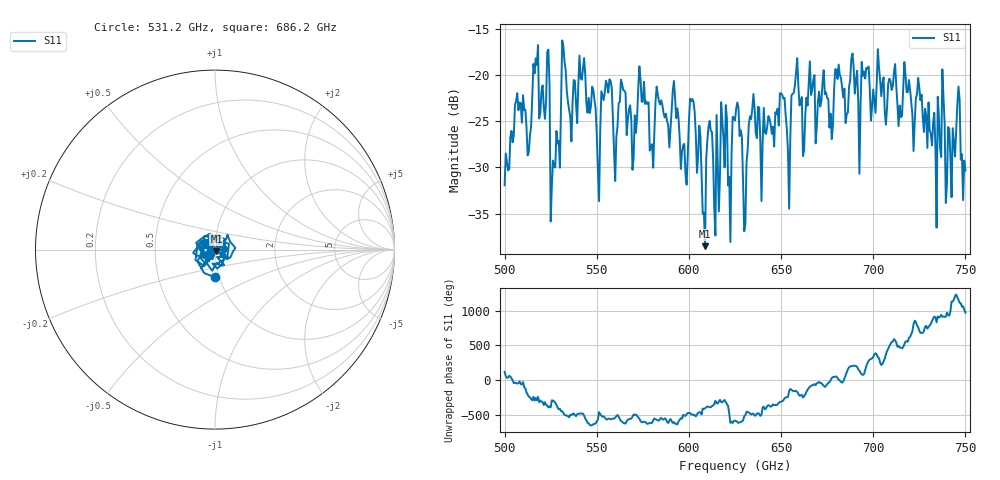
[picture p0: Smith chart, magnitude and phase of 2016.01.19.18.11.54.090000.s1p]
!Created with skrf (http://scikit-rf.org).
# GHz S RI R 50.0
!freq ReS11 ImS11
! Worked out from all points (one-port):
!   401 points, 500 GHz to 750 GHz, reference 50 ohm
!   lowest |S11| = -38.5 dB at 608.8 GHz (marker M1), VSWR 1.02, Z = 50.8 - j0.908 ohm
!   |S11| at or under -10 dB: start of sweep to end of sweep
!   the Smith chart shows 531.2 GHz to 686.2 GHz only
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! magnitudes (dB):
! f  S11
! 500 GHz  -31.9
! 506.9 GHz  -22.0
! 513.1 GHz  -28.3
! 516.9 GHz  -18.2
! 523.1 GHz  -17.5
! 526.2 GHz  -29.3
! 531.2 GHz  -16.3
! 541.9 GHz  -20.5
! 550.6 GHz  -30.4
! 553.8 GHz  -22.7
! 562.5 GHz  -22.9
! 593.8 GHz  -23.6
! 598.1 GHz  -30.7
! 601.9 GHz  -22.6
! 608.8 GHz  -38.5
! 611.2 GHz  -25.0
! 615 GHz  -24.3
! 625 GHz  -24.9
! 630.6 GHz  -36.1
! 634.4 GHz  -23.6
! 650.6 GHz  -22.2
! 653.8 GHz  -28.3
! 656.2 GHz  -22.0
! 687.5 GHz  -20.6
! 718.8 GHz  -21.9
! 740.6 GHz  -25.6
! 746.2 GHz  -21.2
! 750 GHz  -30.3
